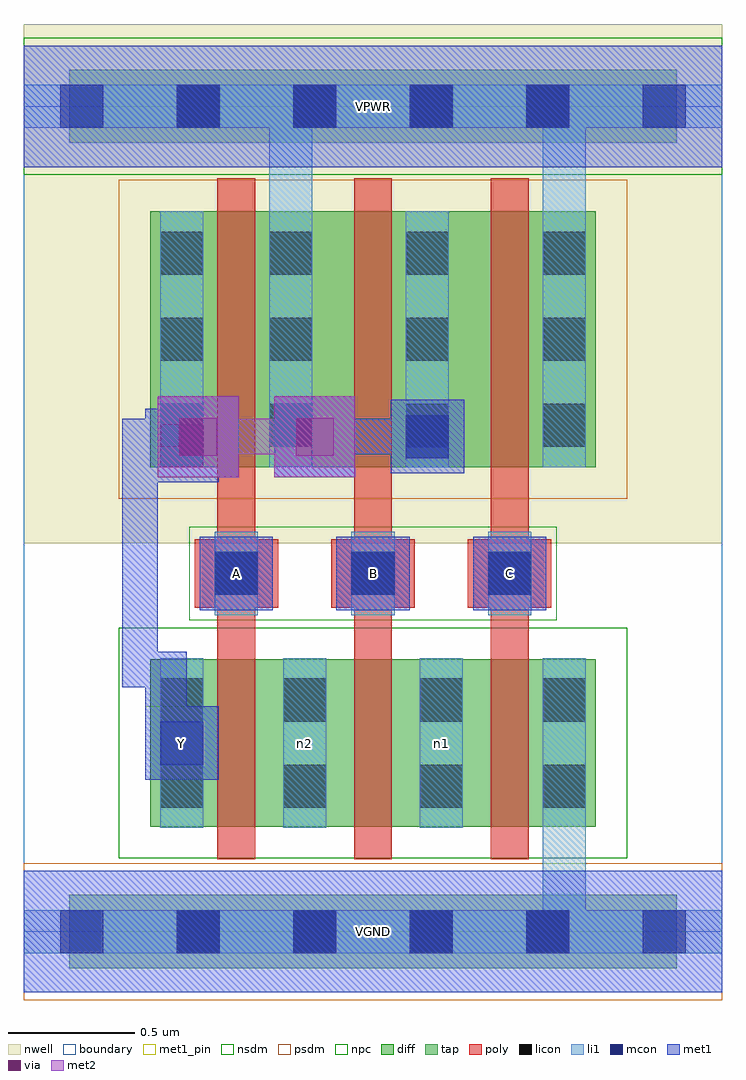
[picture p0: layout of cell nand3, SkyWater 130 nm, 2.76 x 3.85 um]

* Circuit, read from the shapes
.subckt nand3 A B C VGND VPWR Y n1 n2
XM1 n2 A Y VGND sky130_fd_pr__nfet_01v8 w=0.66 l=0.15
XM2 n1 B n2 VGND sky130_fd_pr__nfet_01v8 w=0.66 l=0.15
XM3 VGND C n1 VGND sky130_fd_pr__nfet_01v8 w=0.66 l=0.15
XM4 VPWR A Y VPWR sky130_fd_pr__pfet_01v8 w=1.01 l=0.15
XM5 Y B VPWR VPWR sky130_fd_pr__pfet_01v8 w=1.01 l=0.15
XM6 VPWR C Y VPWR sky130_fd_pr__pfet_01v8 w=1.01 l=0.15
.ends

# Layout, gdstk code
import gdstk
lib = gdstk.Library(unit=1e-6, precision=1e-09)
def R(c, l, rs):  # rectangles x0, y0, x1, y1
    for r in rs: c.add(gdstk.rectangle(r[:2], r[2:], *l))
def A(c, l, x, y, w, h, nx, ny, dx, dy):  # array of equal rectangles
    R(c, l, [(x+i*dx, y+j*dy, x+i*dx+w, y+j*dy+h) for i in range(nx) for j in range(ny)])
nwell = (64, 20)
diff = (65, 20)
tap = (65, 44)
poly = (66, 20)
licon = (66, 44)
li1 = (67, 20)
mcon = (67, 44)
met1_pin = (68, 16)
met1 = (68, 20)
via = (68, 44)
met2 = (69, 20)
nsdm = (93, 44)
psdm = (94, 20)
npc = (95, 20)
boundary = (235, 4)

nand3 = lib.new_cell('nand3')
R(nand3, nwell, [(0,1.535,2.76,3.585)])
R(nand3, diff, [(0.5,0.415,2.26,1.075), (0.5,1.835,2.26,2.845)])
R(nand3, tap, [(0.18,-0.145,2.58,0.145), (0.18,3.115,2.58,3.405)])
A(nand3, poly, 0.765, 0.285, 0.15, 2.69, 3, 1, 0.54, 0)
A(nand3, poly, 0.675, 1.28, 0.33, 0.27, 3, 1, 0.54, 0)
A(nand3, licon, 0.605, -0.085, 0.17, 0.17, 4, 2, 0.46, 3.26)
A(nand3, licon, 0.755, 1.33, 0.17, 0.17, 3, 1, 0.54, 0)
A(nand3, licon, 0.54, 1.915, 0.17, 0.17, 1, 3, 0, 0.34)
A(nand3, licon, 0.97, 1.915, 0.17, 0.17, 3, 3, 0.54, 0.34)
R(nand3, licon, [(0.54,0.49,0.71,0.66), (1.025,0.49,1.195,0.66), (1.565,0.49,1.735,0.66), (2.05,0.49,2.22,0.66), (0.54,0.83,0.71,1), (1.025,0.83,1.195,1), (1.565,0.83,1.735,1), (2.05,0.83,2.22,1)])
A(nand3, li1, 0.755, 1.25, 0.17, 0.33, 3, 1, 0.54, 0)
A(nand3, li1, 0.97, 1.835, 0.17, 1.01, 3, 1, 0.54, 0)
R(nand3, li1, [(0,-0.085,2.76,0.085), (2.05,-0.085,2.22,1.08), (0.54,0.41,0.71,1.08), (1.025,0.41,1.195,1.08), (1.565,0.41,1.735,1.08), (2.05,0.41,2.22,1.08), (0.54,1.835,0.71,2.845), (0.97,1.835,1.14,3.345), (2.05,1.835,2.22,3.345), (0,3.175,2.76,3.345)])
A(nand3, mcon, 0.145, -0.085, 0.17, 0.17, 6, 2, 0.46, 3.26)
A(nand3, mcon, 0.755, 1.33, 0.17, 0.17, 3, 1, 0.54, 0)
R(nand3, mcon, [(0.54,0.66,0.71,0.83), (0.54,1.835,0.71,2.005), (1.51,1.87,1.68,2.04)])
A(nand3, met1_pin, 0.695, 1.27, 0.29, 0.29, 3, 1, 0.54, 0)
R(nand3, met1_pin, [(0,-0.24,2.76,0.24), (0.48,0.6,0.77,0.89), (0,3.02,2.76,3.5)])
A(nand3, met1, 0.695, 1.27, 0.29, 0.29, 3, 1, 0.54, 0)
R(nand3, met1, [(0,-0.24,2.76,0.24), (0.48,0.6,0.77,0.89), (0.505,0.735,0.645,0.875), (0.505,0.735,0.645,1.105), (0.48,0.89,0.645,0.965), (0.48,0.89,0.53,0.965), (0.39,0.965,0.645,1.105), (0.39,0.965,0.53,1.795), (0.39,1.655,0.53,1.99), (0.39,1.655,0.53,2.025), (0.48,1.775,0.77,2.065), (0.53,1.795,0.85,2.115), (0.99,1.795,1.31,2.115), (1.45,1.81,1.74,2.1), (0.39,1.85,0.695,1.99), (0.39,1.885,0.76,2.025), (1.08,1.885,1.565,2.025), (1.425,1.885,1.665,2.025), (0,3.02,2.76,3.5)])
R(nand3, via, [(0.615,1.88,0.765,2.03), (1.075,1.88,1.225,2.03)])
R(nand3, met2, [(0.53,1.795,0.85,2.115), (0.99,1.795,1.31,2.115), (0.62,1.885,1.22,2.025)])
R(nand3, nsdm, [(0.375,0.29,2.385,1.2), (0,2.99,2.76,3.53)])
R(nand3, psdm, [(0,-0.27,2.76,0.27), (0.375,1.71,2.385,2.97)])
R(nand3, npc, [(0.655,1.23,2.105,1.6)])
R(nand3, boundary, [(0,0,2.76,3.26)])
nand3.add(gdstk.Label('n2', (1.11,0.745), layer=67, texttype=5))
nand3.add(gdstk.Label('n1', (1.65,0.745), layer=67, texttype=5))
nand3.add(gdstk.Label('A', (0.84,1.415), layer=68, texttype=5))
nand3.add(gdstk.Label('B', (1.38,1.415), layer=68, texttype=5))
nand3.add(gdstk.Label('C', (1.92,1.415), layer=68, texttype=5))
nand3.add(gdstk.Label('Y', (0.625,0.745), layer=68, texttype=5))
nand3.add(gdstk.Label('VPWR', (1.38,3.26), layer=68, texttype=5))
nand3.add(gdstk.Label('VGND', (1.38,0), layer=68, texttype=5))
nand3.add(gdstk.Label('A', (0.84,1.415), layer=68, texttype=16))
nand3.add(gdstk.Label('B', (1.38,1.415), layer=68, texttype=16))
nand3.add(gdstk.Label('C', (1.92,1.415), layer=68, texttype=16))
nand3.add(gdstk.Label('Y', (0.625,0.745), layer=68, texttype=16))
nand3.add(gdstk.Label('VPWR', (1.38,3.26), layer=68, texttype=16))
nand3.add(gdstk.Label('VGND', (1.38,0), layer=68, texttype=16))

lib.write_gds('nand3.gds')
